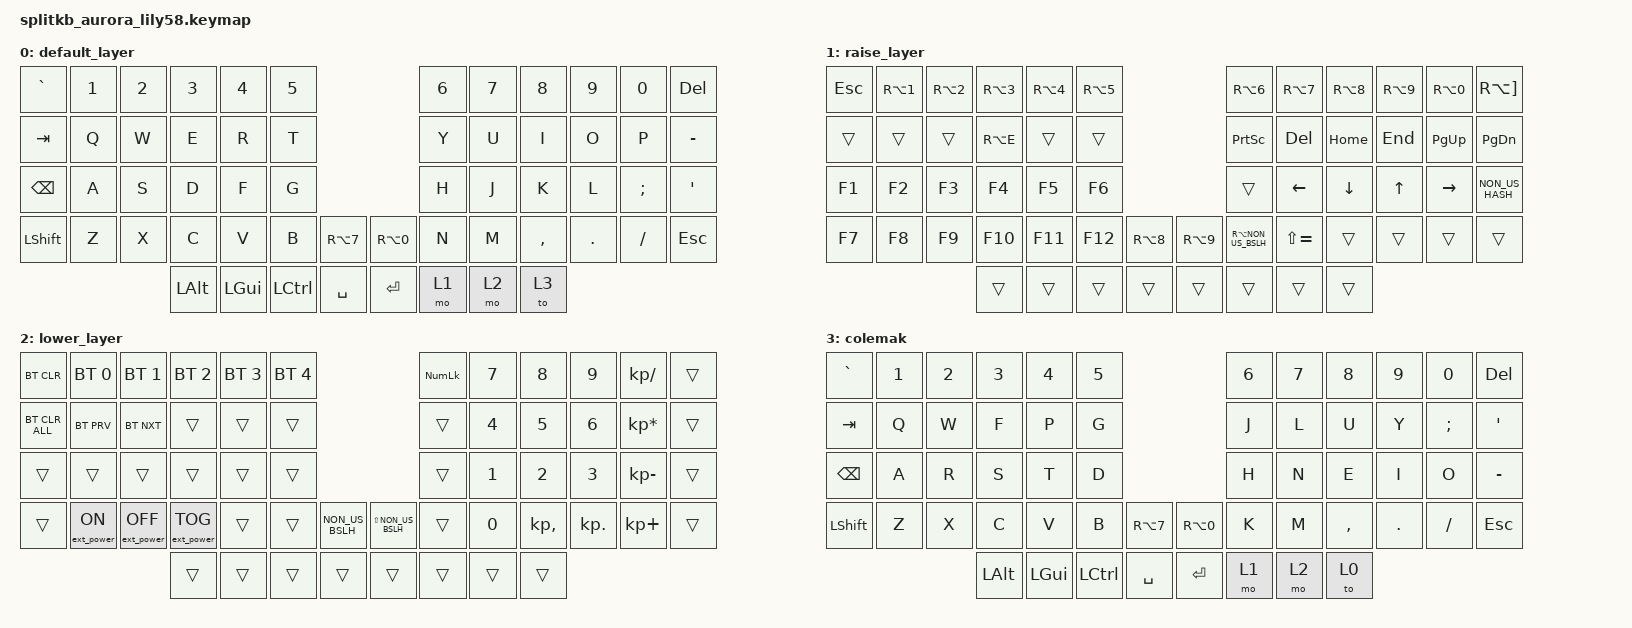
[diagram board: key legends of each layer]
/*
 * Copyright (c) 2022 The ZMK Contributors
 *
 * SPDX-License-Identifier: MIT
 */

#include <behaviors.dtsi>
#include <dt-bindings/zmk/bt.h>
#include <dt-bindings/zmk/ext_power.h>
#include <dt-bindings/zmk/keys.h>

/ {
    keymap {
        compatible = "zmk,keymap";

        default_layer {
            // ------------------------------------------------------------------------------------------------------------
            // |  ESC  |  1  |  2  |  3   |  4   |  5   |                   |  6   |  7    |  8    |  9   |   0   |   `   |
            // |  TAB  |  Q  |  W  |  E   |  R   |  T   |                   |  Y   |  U    |  I    |  O   |   P   |   -   |
            // |  CTRL |  A  |  S  |  D   |  F   |  G   |                   |  H   |  J    |  K    |  L   |   ;   |   '   |
            // | SHIFT |  Z  |  X  |  C   |  V   |  B   |   "["  |  |  "]"  |  N   |  M    |  ,    |  .   |   /   | SHIFT |
            //                     | ALT  | GUI  | LOWER|  SPACE |  | ENTER | RAISE| BSPC  | GUI   |

            bindings = <
&kp GRAVE  &kp N1  &kp N2  &kp N3    &kp N4    &kp N5                               &kp N6  &kp N7  &kp N8     &kp N9   &kp N0    &kp DEL
&kp TAB    &kp Q   &kp W   &kp E     &kp R     &kp T                                &kp Y   &kp U   &kp I      &kp O    &kp P     &kp MINUS
&kp BSPC   &kp A   &kp S   &kp D     &kp F     &kp G                                &kp H   &kp J   &kp K      &kp L    &kp SEMI  &kp SQT
&kp LSHFT  &kp Z   &kp X   &kp C     &kp V     &kp B      &kp RA(N7)    &kp RA(N0)  &kp N   &kp M   &kp COMMA  &kp DOT  &kp FSLH  &kp ESC
                           &kp LALT  &kp LGUI  &kp LCTRL  &kp SPACE     &kp RET     &mo 1   &mo 2   &to 3
            >;
        };

        raise_layer {
            // ------------------------------------------------------------------------------------------------------------
            // |       |     |     |      |      |      |                   |      |       |       |      |       |       |
            // |   `   |  1  |  2  |  3   |  4   |  5   |                   |  6   |   7   |   8   |  9   |   0   |       |
            // |   F1  |  F2 |  F3 |  F4  |  F5  |  F6  |                   |      |   <-  |   v   |  ^   |  ->   |       |
            // |   F7  |  F8 |  F9 |  F10 |  F11 |  F12 |        |  |       |  +   |   -   |   =   |  [   |   ]   |   \   |
            //                     |      |      |      |        |  |       |      |       |       |

            bindings = <
&kp ESC  &kp RA(N1)  &kp RA(N2)  &kp RA(N3)  &kp RA(N4)  &kp RA(N5)                            &kp RA(N6)           &kp RA(N7)     &kp RA(N8)  &kp RA(N9)  &kp RA(N0)   &kp RA(RIGHT_BRACKET)
&trans   &trans      &trans      &kp RA(E)   &trans      &trans                                &kp PRINTSCREEN      &kp DELETE     &kp HOME    &kp END     &kp PAGE_UP  &kp PAGE_DOWN
&kp F1   &kp F2      &kp F3      &kp F4      &kp F5      &kp F6                                &trans               &kp LEFT       &kp DOWN    &kp UP      &kp RIGHT    &kp NON_US_HASH
&kp F7   &kp F8      &kp F9      &kp F10     &kp F11     &kp F12     &kp RA(N8)    &kp RA(N9)  &kp RA(NON_US_BSLH)  &kp LS(EQUAL)  &trans      &trans      &trans       &trans
                                 &trans      &trans      &trans      &trans        &trans      &trans               &trans         &trans
            >;
        };

        lower_layer {
            // ------------------------------------------------------------------------------------------------------------
            // | BTCLR | BT1 | BT2 |  BT3 |  BT4 |  BT5 |                   |      |       |       |      |       |       |
            // |  F1   |  F2 |  F3 |  F4  |  F5  |  F6  |                   |  F7  |  F8   |  F9   |  F10 |  F11  |  F12  |
            // |   `   |  !  |  @  |  #   |  $   |  %   |                   |  ^   |  &    |  *    |  (   |   )   |   ~   |
            // |       |     |     |      |      |      |        |  |       |      |  _    |  +    |  {   |   }   |  "|"  |
            //                     |      |      |      |        |  |       |      |       |       |

            bindings = <
&bt BT_CLR      &bt BT_SEL 0      &bt BT_SEL 1       &bt BT_SEL 2       &bt BT_SEL 3  &bt BT_SEL 4                                          &kp KP_NLCK  &kp N7  &kp N8        &kp N9      &kp KP_DIVIDE    &trans
&bt BT_CLR_ALL  &bt BT_PRV        &bt BT_NXT         &trans             &trans        &trans                                                &trans       &kp N4  &kp N5        &kp N6      &kp KP_MULTIPLY  &trans
&trans          &trans            &trans             &trans             &trans        &trans                                                &trans       &kp N1  &kp N2        &kp N3      &kp KP_MINUS     &trans
&trans          &ext_power EP_ON  &ext_power EP_OFF  &ext_power EP_TOG  &trans        &trans        &kp NON_US_BSLH    &kp LS(NON_US_BSLH)  &trans       &kp N0  &kp KP_COMMA  &kp KP_DOT  &kp KP_PLUS      &trans
                                                     &trans             &trans        &trans        &trans             &trans               &trans       &trans  &trans
            >;
        };

        colemak {
            bindings = <
&kp GRAVE  &kp N1  &kp N2  &kp N3    &kp N4    &kp N5                               &kp N6  &kp N7  &kp N8     &kp N9   &kp N0    &kp DEL
&kp TAB    &kp Q   &kp W   &kp F     &kp P     &kp G                                &kp J   &kp L   &kp U      &kp Y    &kp SEMI  &kp SQT
&kp BSPC   &kp A   &kp R   &kp S     &kp T     &kp D                                &kp H   &kp N   &kp E      &kp I    &kp O     &kp MINUS
&kp LSHFT  &kp Z   &kp X   &kp C     &kp V     &kp B      &kp RA(N7)    &kp RA(N0)  &kp K   &kp M   &kp COMMA  &kp DOT  &kp FSLH  &kp ESC
                           &kp LALT  &kp LGUI  &kp LCTRL  &kp SPACE     &kp ENTER   &mo 1   &mo 2   &to 0
            >;
        };
    };
};
